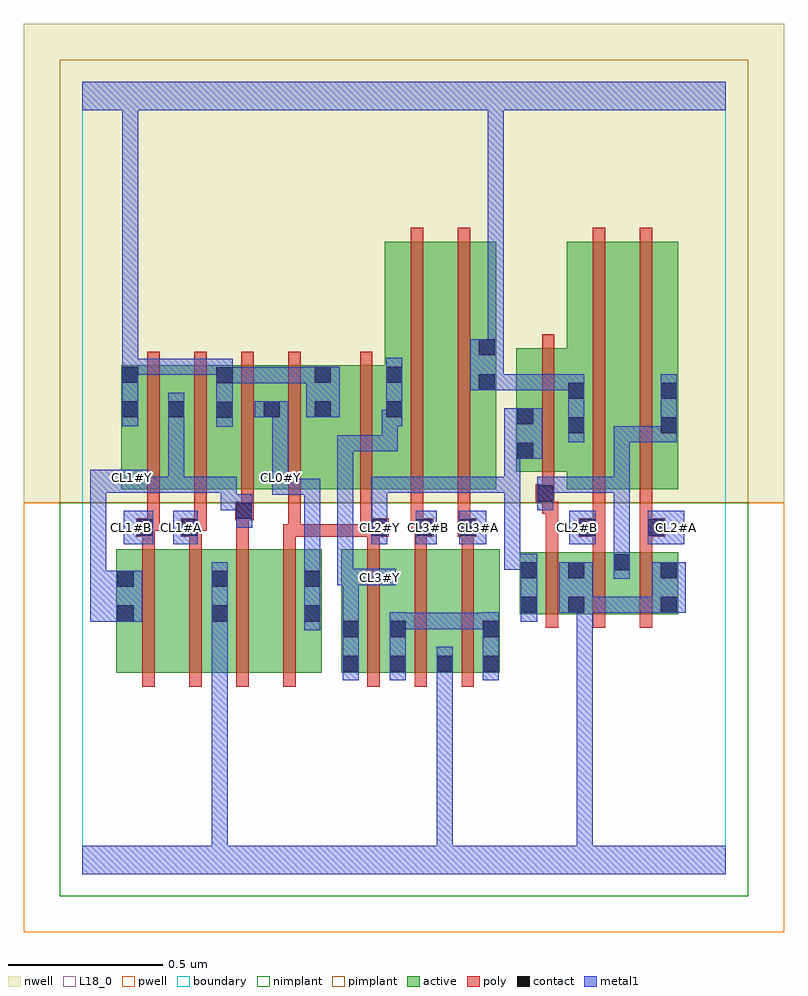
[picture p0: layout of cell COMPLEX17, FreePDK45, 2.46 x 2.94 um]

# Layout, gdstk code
import gdstk
lib = gdstk.Library(unit=1e-6, precision=1e-09)
def R(c, l, rs):  # rectangles x0, y0, x1, y1
    for r in rs: c.add(gdstk.rectangle(r[:2], r[2:], *l))
def A(c, l, x, y, w, h, nx, ny, dx, dy):  # array of equal rectangles
    R(c, l, [(x+i*dx, y+j*dy, x+i*dx+w, y+j*dy+h) for i in range(nx) for j in range(ny)])
active = (1, 0)
pwell = (2, 0)
nwell = (3, 0)
nimplant = (4, 0)
pimplant = (5, 0)
poly = (9, 0)
contact = (10, 0)
metal1 = (11, 0)
L18_0 = (18, 0)
boundary = (235, 0)

complex17 = lib.new_cell('COMPLEX17')
A(complex17, active, 0.838, 0.65, 0.06, 0.4, 3, 1, 0.152, 0)
R(complex17, active, [(0.11,0.65,0.17,1.05), (0.11,0.65,0.29,1.05), (0.29,0.65,0.474,1.05), (0.414,0.65,0.594,1.05), (0.414,0.65,0.474,0.984), (0.594,0.65,0.774,1.05), (0.714,0.65,0.774,1.05), (0.838,0.65,1.05,1.05), (0.99,0.65,1.202,1.05), (1.142,0.65,1.35,1.05), (1.29,0.65,1.35,1.05), (1.414,0.84,1.474,1.04), (1.414,0.84,1.626,1.04), (1.566,0.84,1.774,1.04), (1.566,0.84,1.626,1.012), (1.714,0.84,1.926,1.04), (1.866,0.84,1.926,1.04), (1.714,0.956,1.774,1.038), (0.126,1.244,0.186,1.644), (0.126,1.244,0.334,1.644), (0.274,1.244,0.334,1.644), (0.274,1.244,0.49,1.644), (0.43,1.244,0.49,1.644), (0.43,1.244,0.642,1.644), (0.582,1.244,0.642,1.644), (0.582,1.244,0.808,1.644), (0.748,1.244,0.808,1.644), (0.748,1.244,1.038,1.644), (0.978,1.244,1.038,1.644), (0.978,1.244,1.158,2.044), (1.158,1.244,1.338,2.044), (1.278,1.244,1.338,2.044), (1.566,1.244,1.746,2.044), (1.746,1.244,1.926,2.044), (1.866,1.244,1.926,2.044), (1.402,1.3,1.626,1.7), (1.402,1.3,1.462,1.644), (1.566,1.3,1.626,2.044)])
R(complex17, pwell, [(-0.188,-0.188,2.268,1.2)])
R(complex17, nwell, [(-0.188,1.2,2.268,2.748)])
R(complex17, nimplant, [(-0.072,-0.072,2.152,1.2)])
R(complex17, pimplant, [(-0.072,1.2,2.152,2.632)])
A(complex17, poly, 0.194, 0.606, 0.04, 0.488, 4, 1, 0.152, 0)
A(complex17, poly, 0.922, 0.606, 0.04, 0.488, 3, 1, 0.152, 0)
A(complex17, poly, 1.498, 0.796, 0.04, 0.288, 3, 1, 0.152, 0)
A(complex17, poly, 0.922, 1.054, 0.04, 0.076, 3, 1, 0.152, 0)
A(complex17, poly, 0.21, 1.2, 0.04, 0.488, 4, 1, 0.152, 0)
R(complex17, poly, [(1.498,1.044,1.538,1.204), (1.65,1.044,1.69,1.13), (1.802,1.044,1.842,1.13), (0.194,1.054,0.234,1.13), (0.346,1.054,0.386,1.13), (0.498,1.054,0.538,1.184), (0.65,1.054,0.69,1.13), (0.174,1.09,0.234,1.15), (0.318,1.09,0.386,1.15), (0.65,1.09,0.706,1.13), (0.666,1.09,0.706,1.13), (0.666,1.09,0.706,1.13), (0.666,1.09,0.706,1.13), (0.666,1.09,0.706,1.13), (0.666,1.09,0.962,1.13), (0.666,1.09,0.706,1.24), (0.898,1.09,0.99,1.15), (0.922,1.09,0.962,1.13), (0.922,1.09,0.962,1.13), (0.922,1.09,0.962,1.13), (0.922,1.09,0.962,1.13), (1.074,1.09,1.134,1.15), (1.214,1.09,1.274,1.15), (1.604,1.09,1.69,1.15), (1.802,1.09,1.884,1.15), (0.194,1.11,0.234,1.15), (0.194,1.11,0.25,1.15), (0.21,1.11,0.25,1.24), (0.346,1.11,0.386,1.15), (0.346,1.11,0.402,1.15), (0.362,1.11,0.402,1.24), (0.898,1.11,0.938,1.24), (1.062,1.11,1.102,1.24), (1.062,1.11,1.114,1.15), (1.074,1.11,1.114,1.15), (1.214,1.11,1.254,1.24), (1.214,1.11,1.254,1.15), (1.214,1.11,1.254,1.15), (1.65,1.11,1.69,1.24), (1.65,1.11,1.69,1.15), (1.65,1.11,1.69,1.15), (1.802,1.11,1.842,1.24), (1.802,1.11,1.842,1.15), (1.802,1.11,1.842,1.15), (0.494,1.144,0.554,1.204), (0.498,1.144,0.538,1.184), (0.498,1.144,0.538,1.184), (0.514,1.164,0.554,1.24), (1.486,1.164,1.526,1.24), (1.486,1.164,1.538,1.204), (0.898,1.2,0.938,1.688), (1.062,1.2,1.102,2.088), (1.214,1.2,1.254,2.088), (1.466,1.2,1.526,1.26), (1.65,1.2,1.69,2.088), (1.802,1.2,1.842,2.088), (1.486,1.22,1.526,1.296), (1.486,1.256,1.526,1.744)])
A(complex17, contact, 0.842, 0.654, 0.052, 0.052, 3, 1, 0.152, 0)
R(complex17, contact, [(1.294,0.654,1.346,0.706), (0.842,0.766,0.894,0.818), (0.994,0.766,1.046,0.818), (1.294,0.766,1.346,0.818), (0.114,0.816,0.166,0.868), (0.418,0.816,0.47,0.868), (0.718,0.816,0.77,0.868), (1.418,0.844,1.47,0.896), (1.57,0.844,1.622,0.896), (1.87,0.844,1.922,0.896), (0.114,0.928,0.166,0.98), (0.418,0.928,0.47,0.98), (0.718,0.928,0.77,0.98), (1.418,0.956,1.47,1.008), (1.57,0.956,1.622,1.008), (1.87,0.956,1.922,1.008), (1.718,0.982,1.77,1.034), (0.178,1.094,0.23,1.146), (0.322,1.094,0.374,1.146), (0.934,1.094,0.986,1.146), (1.078,1.094,1.13,1.146), (1.218,1.094,1.27,1.146), (1.608,1.094,1.66,1.146), (1.828,1.094,1.88,1.146), (0.498,1.148,0.55,1.2), (1.47,1.204,1.522,1.256), (1.406,1.342,1.458,1.394), (1.57,1.424,1.622,1.476), (1.87,1.424,1.922,1.476), (1.406,1.454,1.458,1.506), (0.434,1.474,0.486,1.526), (0.13,1.476,0.182,1.528), (0.278,1.476,0.33,1.528), (0.586,1.476,0.638,1.528), (0.752,1.476,0.804,1.528), (0.982,1.476,1.034,1.528), (1.57,1.536,1.622,1.588), (1.87,1.536,1.922,1.588), (1.282,1.564,1.334,1.616), (0.434,1.586,0.486,1.638), (0.13,1.588,0.182,1.64), (0.752,1.588,0.804,1.64), (0.982,1.588,1.034,1.64), (1.282,1.676,1.334,1.728)])
R(complex17, metal1, [(0,0,2.08,0.092), (0.418,0.04,0.47,0.092), (0.418,0.04,0.47,0.092), (0.418,0.04,0.47,0.092), (0.418,0.04,0.47,0.092), (0.418,0.04,0.47,0.092), (0.418,0.04,0.47,0.092), (0.418,0.04,0.47,0.092), (0.418,0.04,0.47,0.092), (0.418,0.04,0.47,0.84), (1.146,0.04,1.198,0.092), (1.146,0.04,1.198,0.092), (1.146,0.04,1.198,0.092), (1.146,0.04,1.198,0.092), (1.146,0.04,1.198,0.092), (1.146,0.04,1.198,0.092), (1.146,0.04,1.198,0.092), (1.146,0.04,1.198,0.092), (1.146,0.04,1.198,0.092), (1.146,0.04,1.198,0.092), (1.146,0.04,1.198,0.092), (1.146,0.04,1.198,0.092), (1.146,0.04,1.198,0.678), (1.598,0.04,1.65,0.092), (1.598,0.04,1.65,0.092), (1.598,0.04,1.65,0.092), (1.598,0.04,1.65,0.092), (1.598,0.04,1.65,0.092), (1.598,0.04,1.65,0.092), (1.598,0.04,1.65,0.092), (1.598,0.04,1.65,0.092), (1.598,0.04,1.65,0.896), (0.842,0.626,0.894,0.846), (0.994,0.626,1.046,0.846), (1.146,0.626,1.198,0.734), (1.294,0.626,1.346,0.846), (0.418,0.788,0.47,0.84), (0.418,0.788,0.47,0.84), (0.418,0.788,0.47,0.84), (0.418,0.788,0.47,0.84), (0.418,0.788,0.47,1.008), (0.718,0.788,0.77,1.008), (0.994,0.792,1.156,0.844), (1.104,0.792,1.156,0.844), (1.104,0.792,1.156,0.844), (1.104,0.792,1.156,0.844), (1.104,0.792,1.306,0.844), (1.254,0.792,1.306,0.844), (1.254,0.792,1.346,0.844), (0.842,0.794,0.894,0.986), (0.026,0.816,0.194,0.98), (1.418,0.816,1.47,1.036), (1.542,0.844,1.65,1.008), (1.598,0.844,1.65,0.896), (1.598,0.844,1.65,0.896), (1.598,0.844,1.65,0.896), (1.598,0.844,1.65,0.896), (1.598,0.844,1.65,0.896), (1.598,0.844,1.65,0.896), (1.598,0.844,1.65,0.896), (1.598,0.844,1.65,0.896), (1.598,0.844,1.65,0.896), (1.598,0.844,1.65,0.896), (1.598,0.844,1.77,0.896), (1.718,0.844,1.77,0.896), (1.718,0.844,1.894,0.896), (1.842,0.844,1.894,0.896), (1.842,0.844,1.894,0.896), (1.842,0.844,1.95,1.008), (0.026,0.928,0.078,1.284), (0.824,0.934,1.014,0.986), (0.824,0.934,0.876,1.418), (1.718,0.954,1.77,1.062), (0.718,0.956,0.77,1.278), (1.364,0.984,1.416,1.284), (1.364,0.984,1.47,1.036), (1.418,0.984,1.47,1.036), (1.718,1.01,1.77,1.062), (1.718,1.01,1.77,1.062), (1.718,1.01,1.77,1.284), (0.134,1.066,0.23,1.174), (0.294,1.066,0.374,1.174), (0.934,1.066,0.986,1.174), (1.078,1.066,1.146,1.174), (1.218,1.066,1.306,1.174), (1.574,1.066,1.66,1.174), (1.828,1.066,1.946,1.174), (0.498,1.12,0.55,1.228), (0.934,1.122,0.986,1.174), (0.934,1.122,0.986,1.284), (0.448,1.176,0.5,1.284), (0.448,1.176,0.55,1.228), (1.47,1.176,1.522,1.284), (0.614,1.226,0.666,1.278), (0.614,1.226,0.666,1.278), (0.614,1.226,0.666,1.334), (0.614,1.226,0.77,1.278), (0.718,1.226,0.77,1.278), (0.026,1.232,0.078,1.284), (0.026,1.232,0.078,1.284), (0.026,1.232,0.214,1.306), (0.162,1.232,0.214,1.284), (0.162,1.232,0.214,1.284), (0.162,1.232,0.33,1.284), (0.278,1.232,0.33,1.284), (0.278,1.232,0.33,1.284), (0.278,1.232,0.33,1.284), (0.278,1.232,0.5,1.284), (0.278,1.232,0.33,1.5), (0.934,1.232,1.156,1.284), (1.104,1.232,1.156,1.284), (1.104,1.232,1.156,1.284), (1.104,1.232,1.156,1.284), (1.104,1.232,1.266,1.284), (1.214,1.232,1.266,1.284), (1.214,1.232,1.266,1.284), (1.214,1.232,1.266,1.284), (1.214,1.232,1.416,1.284), (1.364,1.232,1.416,1.284), (1.364,1.232,1.416,1.394), (1.47,1.232,1.594,1.284), (1.542,1.232,1.594,1.284), (1.542,1.232,1.77,1.284), (1.718,1.232,1.77,1.284), (1.718,1.232,1.77,1.284), (1.718,1.232,1.77,1.284), (1.718,1.232,1.77,1.448), (0.614,1.282,0.666,1.528), (1.364,1.342,1.486,1.506), (0.824,1.366,0.876,1.418), (0.824,1.366,0.876,1.418), (0.824,1.366,0.876,1.418), (0.824,1.366,1.02,1.418), (0.968,1.366,1.02,1.5), (1.57,1.396,1.622,1.616), (1.718,1.396,1.77,1.448), (1.718,1.396,1.922,1.448), (1.87,1.396,1.922,1.448), (1.87,1.396,1.922,1.448), (1.87,1.396,1.922,1.616), (0.434,1.446,0.486,1.666), (0.13,1.448,0.182,1.668), (0.278,1.448,0.33,1.556), (0.968,1.448,1.034,1.5), (0.982,1.448,1.034,1.668), (0.558,1.476,0.666,1.528), (0.614,1.476,0.666,1.528), (0.614,1.476,0.666,1.528), (0.724,1.476,0.832,1.64), (1.254,1.564,1.362,1.728), (1.31,1.564,1.484,1.616), (1.432,1.564,1.484,1.616), (1.432,1.564,1.484,1.616), (1.432,1.564,1.484,1.616), (1.432,1.564,1.622,1.616), (0.434,1.586,0.486,1.638), (0.434,1.586,0.486,1.638), (0.434,1.586,0.66,1.638), (0.608,1.586,0.66,1.638), (0.608,1.586,0.66,1.638), (0.608,1.586,0.66,1.638), (0.608,1.586,0.776,1.638), (0.13,1.614,0.182,1.666), (0.13,1.614,0.182,1.666), (0.13,1.614,0.36,1.666), (0.308,1.614,0.36,1.666), (0.308,1.614,0.36,1.666), (0.308,1.614,0.36,1.666), (0.308,1.614,0.486,1.666), (0.13,1.616,0.182,1.668), (0.13,1.616,0.182,1.668), (0.13,1.616,0.182,1.668), (0.13,1.616,0.182,1.668), (0.13,1.616,0.182,1.668), (0.13,1.616,0.182,1.668), (0.13,1.616,0.182,1.668), (0.13,1.616,0.182,1.668), (0.13,1.616,0.182,1.668), (0.13,1.616,0.182,1.668), (0.13,1.616,0.182,1.668), (0.13,1.616,0.182,1.668), (0.13,1.616,0.182,1.668), (0.13,1.616,0.182,1.668), (0.13,1.616,0.182,2.52), (1.31,1.676,1.362,2.52), (0,2.468,2.08,2.56), (0.13,2.468,0.182,2.52), (0.13,2.468,0.182,2.52), (1.31,2.468,1.362,2.52), (1.31,2.468,1.362,2.52), (1.31,2.468,1.362,2.52), (1.31,2.468,1.362,2.52), (1.31,2.468,1.362,2.52), (1.31,2.468,1.362,2.52), (1.31,2.468,1.362,2.52), (1.31,2.468,1.362,2.52)])
A(complex17, L18_0, 0.934, 1.094, 0.052, 0.052, 3, 1, 0.16, 0)
R(complex17, L18_0, [(0,0,2.08,0.092), (0.418,0.04,0.47,0.092), (0.418,0.04,0.47,0.092), (0.418,0.04,0.47,0.092), (0.418,0.04,0.47,0.092), (0.418,0.04,0.47,0.092), (0.418,0.04,0.47,0.092), (0.418,0.04,0.47,0.092), (0.418,0.04,0.47,0.092), (0.418,0.04,0.47,0.84), (1.146,0.04,1.198,0.092), (1.146,0.04,1.198,0.092), (1.146,0.04,1.198,0.092), (1.146,0.04,1.198,0.092), (1.146,0.04,1.198,0.092), (1.146,0.04,1.198,0.092), (1.146,0.04,1.198,0.092), (1.146,0.04,1.198,0.092), (1.146,0.04,1.198,0.092), (1.146,0.04,1.198,0.092), (1.146,0.04,1.198,0.092), (1.146,0.04,1.198,0.092), (1.146,0.04,1.198,0.678), (1.598,0.04,1.65,0.092), (1.598,0.04,1.65,0.092), (1.598,0.04,1.65,0.092), (1.598,0.04,1.65,0.092), (1.598,0.04,1.65,0.092), (1.598,0.04,1.65,0.092), (1.598,0.04,1.65,0.092), (1.598,0.04,1.65,0.092), (1.598,0.04,1.65,0.896), (0.842,0.626,0.894,0.846), (1.146,0.626,1.198,0.734), (0.418,0.788,0.47,0.84), (0.418,0.788,0.47,0.84), (0.418,0.788,0.47,0.84), (0.418,0.788,0.47,0.84), (0.418,0.788,0.47,1.008), (0.718,0.788,0.77,1.008), (0.842,0.794,0.894,0.986), (0.026,0.816,0.194,0.98), (1.418,0.816,1.47,1.036), (1.542,0.844,1.65,1.008), (1.598,0.844,1.65,0.896), (1.598,0.844,1.65,0.896), (1.598,0.844,1.65,0.896), (1.598,0.844,1.65,0.896), (1.598,0.844,1.65,0.896), (1.598,0.844,1.65,0.896), (1.598,0.844,1.65,0.896), (1.598,0.844,1.65,0.896), (1.598,0.844,1.65,0.896), (1.598,0.844,1.65,0.896), (1.598,0.844,1.77,0.896), (1.718,0.844,1.77,0.896), (1.718,0.844,1.894,0.896), (1.842,0.844,1.894,0.896), (1.842,0.844,1.894,0.896), (1.842,0.844,1.95,1.008), (0.026,0.928,0.078,1.284), (0.824,0.934,1.014,0.986), (0.824,0.934,0.876,1.418), (0.934,0.934,0.986,0.986), (0.718,0.956,0.77,1.278), (1.364,0.984,1.47,1.036), (1.364,0.984,1.416,1.284), (1.418,0.984,1.47,1.036), (0.134,1.066,0.23,1.174), (0.294,1.066,0.374,1.174), (0.934,1.066,0.986,1.174), (1.078,1.066,1.146,1.174), (1.218,1.066,1.306,1.174), (1.574,1.066,1.66,1.174), (1.828,1.066,1.946,1.174), (0.134,1.094,0.186,1.146), (0.294,1.094,0.346,1.146), (1.574,1.094,1.626,1.146), (1.894,1.094,1.946,1.146), (0.498,1.12,0.55,1.228), (0.934,1.122,0.986,1.174), (0.934,1.122,0.986,1.284), (0.448,1.176,0.5,1.284), (0.448,1.176,0.55,1.228), (0.614,1.226,0.666,1.278), (0.614,1.226,0.666,1.278), (0.614,1.226,0.666,1.334), (0.614,1.226,0.77,1.278), (0.718,1.226,0.77,1.278), (0.026,1.232,0.078,1.284), (0.026,1.232,0.078,1.284), (0.026,1.232,0.214,1.306), (0.162,1.232,0.214,1.284), (0.162,1.232,0.214,1.284), (0.162,1.232,0.33,1.284), (0.278,1.232,0.33,1.284), (0.278,1.232,0.33,1.284), (0.278,1.232,0.33,1.284), (0.278,1.232,0.33,1.5), (0.278,1.232,0.5,1.284), (0.934,1.232,1.156,1.284), (1.104,1.232,1.156,1.284), (1.104,1.232,1.156,1.284), (1.104,1.232,1.156,1.284), (1.104,1.232,1.266,1.284), (1.214,1.232,1.266,1.284), (1.214,1.232,1.266,1.284), (1.214,1.232,1.266,1.284), (1.214,1.232,1.416,1.284), (1.364,1.232,1.416,1.284), (1.364,1.232,1.416,1.394), (0.134,1.254,0.186,1.306), (0.614,1.254,0.666,1.306), (0.614,1.282,0.666,1.528), (1.364,1.342,1.486,1.506), (0.824,1.366,0.876,1.418), (0.824,1.366,0.876,1.418), (0.824,1.366,0.876,1.418), (0.824,1.366,1.02,1.418), (0.968,1.366,1.02,1.5), (1.57,1.396,1.622,1.616), (0.434,1.446,0.486,1.666), (0.13,1.448,0.182,1.668), (0.278,1.448,0.33,1.556), (0.968,1.448,1.034,1.5), (0.982,1.448,1.034,1.668), (0.558,1.476,0.666,1.528), (0.614,1.476,0.666,1.528), (0.614,1.476,0.666,1.528), (0.724,1.476,0.832,1.64), (1.254,1.564,1.362,1.728), (1.31,1.564,1.484,1.616), (1.432,1.564,1.484,1.616), (1.432,1.564,1.484,1.616), (1.432,1.564,1.484,1.616), (1.432,1.564,1.622,1.616), (0.434,1.586,0.486,1.638), (0.434,1.586,0.486,1.638), (0.434,1.586,0.66,1.638), (0.608,1.586,0.66,1.638), (0.608,1.586,0.66,1.638), (0.608,1.586,0.66,1.638), (0.608,1.586,0.776,1.638), (0.13,1.614,0.182,1.666), (0.13,1.614,0.182,1.666), (0.13,1.614,0.36,1.666), (0.308,1.614,0.36,1.666), (0.308,1.614,0.36,1.666), (0.308,1.614,0.36,1.666), (0.308,1.614,0.486,1.666), (0.13,1.616,0.182,1.668), (0.13,1.616,0.182,1.668), (0.13,1.616,0.182,1.668), (0.13,1.616,0.182,1.668), (0.13,1.616,0.182,1.668), (0.13,1.616,0.182,1.668), (0.13,1.616,0.182,1.668), (0.13,1.616,0.182,1.668), (0.13,1.616,0.182,1.668), (0.13,1.616,0.182,1.668), (0.13,1.616,0.182,1.668), (0.13,1.616,0.182,1.668), (0.13,1.616,0.182,1.668), (0.13,1.616,0.182,1.668), (0.13,1.616,0.182,2.52), (1.31,1.676,1.362,2.52), (0,2.468,2.08,2.56), (0.13,2.468,0.182,2.52), (0.13,2.468,0.182,2.52), (1.31,2.468,1.362,2.52), (1.31,2.468,1.362,2.52), (1.31,2.468,1.362,2.52), (1.31,2.468,1.362,2.52), (1.31,2.468,1.362,2.52), (1.31,2.468,1.362,2.52), (1.31,2.468,1.362,2.52), (1.31,2.468,1.362,2.52)])
R(complex17, boundary, [(0,0,2.08,2.56)])
complex17.add(gdstk.Label('CL0#Y', (0.64,1.28), layer=11, texttype=0))
complex17.add(gdstk.Label('CL1#A', (0.32,1.12), layer=11, texttype=0))
complex17.add(gdstk.Label('CL1#B', (0.16,1.12), layer=11, texttype=0))
complex17.add(gdstk.Label('CL1#Y', (0.16,1.28), layer=11, texttype=0))
complex17.add(gdstk.Label('CL2#A', (1.92,1.12), layer=11, texttype=0))
complex17.add(gdstk.Label('CL2#B', (1.6,1.12), layer=11, texttype=0))
complex17.add(gdstk.Label('CL2#Y', (0.96,1.12), layer=11, texttype=0))
complex17.add(gdstk.Label('CL3#A', (1.28,1.12), layer=11, texttype=0))
complex17.add(gdstk.Label('CL3#B', (1.12,1.12), layer=11, texttype=0))
complex17.add(gdstk.Label('CL3#Y', (0.96,0.96), layer=11, texttype=0))

lib.write_gds('COMPLEX17.gds')
